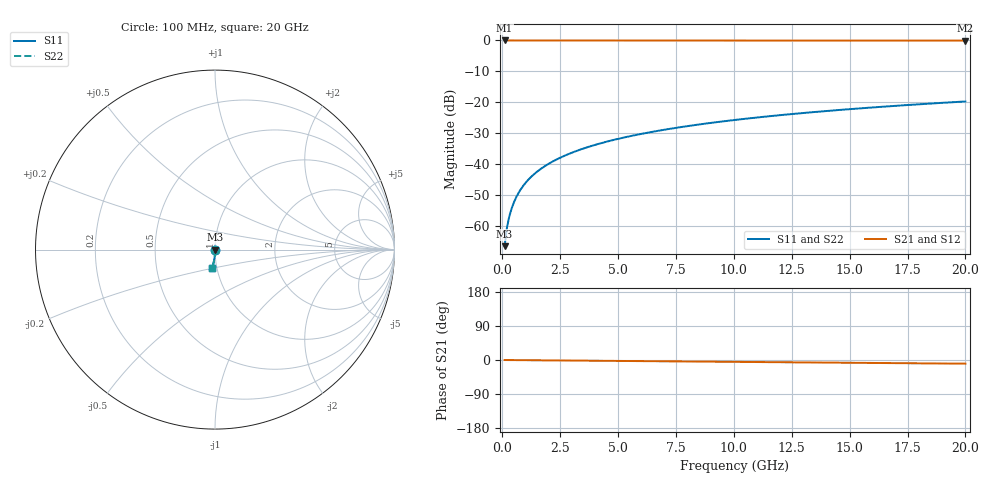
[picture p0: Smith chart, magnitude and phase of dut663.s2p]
! Touchstone file exported from HFSS 2026.1.0
!  File:  C:/ffzhzh/LocalFiles/Ansys_Project_Files/temp_train_TSV_663_1783026957_51716.aedt
!  Generated:  05:17:32 AM Jul  3, 2026
!  Design:  TSV
!  Project:  temp_train_TSV_663_1783026957_51716
! Variables:
!  h_bsmrdl = 2um
!  h_ox = 20um
!  h_rdl = 5um
!  h_sub = 82.69um
!  h_tmrdl = 5um
!  h_tsv = 82.69um
!  h_via = 3um
!  l_bsmrdl = 300um
!  l_sub = 427.46um
!  l_tmrdl = 200um
!  m_sub = 200um
!  pitch = 33.59um
!  r_tsv = 13.73um
!  s_tmrdl = 10um
!  w_bsmrdl = 18um
!  w_sub = 500um
!  w_tmrdl = 12um
!  x_tsv_center1 = 206um
!  x_tsv_center2 = 524um
!  x_tsv_center3 = 736um
!  x_tsv_center4 = 1054um
!  x_tsv_center5 = 1266um
!  x_tsv_center6 = 1584um
# GHz S MA R 50.000000
! Terminal data exported
! Port[1] = TSV1_1_T1
! Port[2] = TSV1_1_T2
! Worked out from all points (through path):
!   200 points, 100 MHz to 20 GHz, reference 50 ohm
!   highest |S21| = 0.00 dB at 100 MHz (marker M1); lowest = -0.1 dB at 20 GHz (marker M2)
!   group delay of S21, straight-line fit = 1.35 ps
!   lowest |S11| = -66.5 dB at 100 MHz (marker M3), VSWR 1.00, Z = 50 - j0.0463 ohm
!   |S11| at or under -10 dB: start of sweep to end of sweep
!   |S22| runs from -66.5 to -19.7 dB; largest |S21 - S12| = 2.1e-15
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0.1  0.0004728 -78.4  0.9999 -0.1  0.9999 -0.1  0.0004728 -78.4
! Gamma 0 0 0 0
! Port Impedance 50 0 50 0
0.2  0.0009392 -83.0  0.9999 -0.1  0.9999 -0.1  0.0009392 -83.0
0.3  0.001418 -84.3  0.9999 -0.2  0.9999 -0.2  0.001418 -84.3
0.4  0.001908 -84.9  0.9998 -0.2  0.9998 -0.2  0.001908 -84.9
0.5  0.002407 -85.3  0.9998 -0.3  0.9998 -0.3  0.002407 -85.3
0.7  0.003424 -85.9  0.9997 -0.4  0.9997 -0.4  0.003424 -85.9
0.8  0.003938 -86.2  0.9997 -0.4  0.9997 -0.4  0.003938 -86.2
1  0.00497 -86.7  0.9997 -0.5  0.9997 -0.5  0.00497 -86.7
1.2  0.006004 -87.2  0.9996 -0.6  0.9996 -0.6  0.006004 -87.2
1.4  0.007039 -87.6  0.9996 -0.7  0.9996 -0.7  0.007039 -87.6
1.7  0.00859 -88.1  0.9995 -0.8  0.9995 -0.8  0.00859 -88.1
2  0.01014 -88.5  0.9995 -1.0  0.9995 -1.0  0.01014 -88.5
2.7  0.01376 -89.2  0.9994 -1.3  0.9994 -1.3  0.01376 -89.2
3.5  0.01789 -89.9  0.9993 -1.7  0.9993 -1.7  0.01789 -89.9
4.2  0.02152 -90.4  0.9991 -2.1  0.9991 -2.1  0.02152 -90.4
5  0.02567 -90.9  0.999 -2.5  0.999 -2.5  0.02567 -90.9
6.8  0.03502 -92.0  0.9986 -3.3  0.9986 -3.3  0.03502 -92.0
8.3  0.04282 -92.9  0.9982 -4.1  0.9982 -4.1  0.04282 -92.9
10.1  0.05218 -93.9  0.9976 -4.9  0.9976 -4.9  0.05218 -93.9
13.4  0.06928 -95.6  0.9965 -6.5  0.9965 -6.5  0.06928 -95.6
16.7  0.08631 -97.3  0.995 -8.1  0.995 -8.1  0.08631 -97.3
20  0.1032 -98.9  0.9932 -9.7  0.9932 -9.7  0.1032 -98.9
